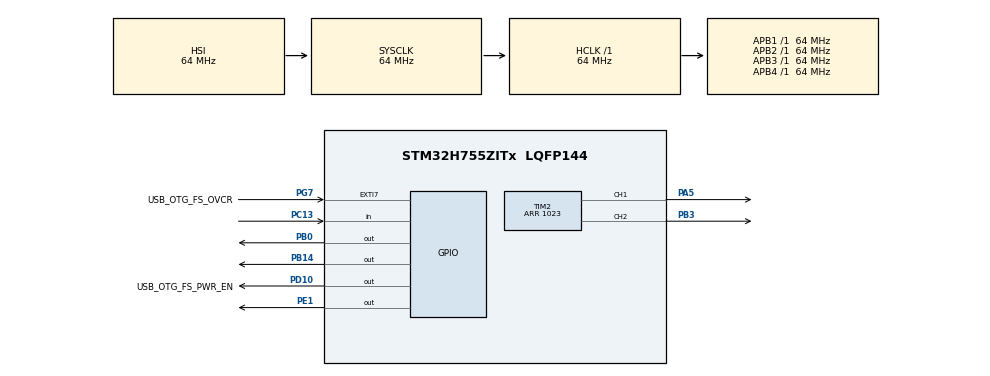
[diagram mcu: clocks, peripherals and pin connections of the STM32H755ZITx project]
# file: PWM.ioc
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CortexM4.IPs=FATFS_M4\:I,FREERTOS_M4\:I,IWDG2\:I,RCC,WWDG2\:I,DMA,BDMA,MDMA,NVIC2\:I,ETH,USART3,DEBUG,PDM2PCM_M4\:I,PWR,RESMGR_UTILITY,SYS_M4\:I,USB_DEVICE_M4\:I,USB_HOST_M4\:I,CORTEX_M4\:I,GPIO,OPENAMP_M4\:I,VREFBUF,NUCLEO-H755ZI-Q
CortexM7.IPs=FATFS_M7\:I,FREERTOS_M7\:I,IWDG1\:I,RCC\:I,WWDG1\:I,DMA\:I,BDMA\:I,MDMA\:I,NVIC1\:I,ETH\:I,USART3\:I,USB_OTG_FS\:I,SYS\:I,CORTEX_M7\:I,DEBUG\:I,PDM2PCM_M7\:I,PWR\:I,RESMGR_UTILITY\:I,USB_DEVICE_M7\:I,USB_HOST_M7\:I,GPIO\:I,OPENAMP_M7\:I,VREFBUF\:I,NUCLEO-H755ZI-Q\:I,MEMORYMAP\:I,TIM2\:I
Mcu.Family=STM32H7
Mcu.Name=STM32H755ZITx
Mcu.Package=LQFP144
NUCLEO-H755ZI-Q.BUTTON=1
NUCLEO-H755ZI-Q.LD1=true
NUCLEO-H755ZI-Q.LD2=true
NUCLEO-H755ZI-Q.LD3=true
NUCLEO-H755ZI-Q.VCP=true
NVIC1.EXTI15_10_IRQn=true\:0\:0\:false\:false\:true\:false\:true\:true
NVIC1.PriorityGroup=NVIC_PRIORITYGROUP_4
NVIC2.PriorityGroup=NVIC_PRIORITYGROUP_4
PA1.PinAttribute=CortexM7
PA1.Signal=ETH_REF_CLK
PA11.PinAttribute=CortexM7
PA11.Signal=USB_OTG_FS_DM
PA12.PinAttribute=CortexM7
PA12.Signal=USB_OTG_FS_DP
PA2.PinAttribute=CortexM7
PA2.Signal=ETH_MDIO
PA5.PinAttribute=CortexM7
PA5.Signal=S_TIM2_CH1_ETR
PA7.PinAttribute=CortexM7
PA7.Signal=ETH_CRS_DV
PA8.PinAttribute=CortexM7
PA8.Signal=USB_OTG_FS_SOF
PA9.PinAttribute=CortexM7
PA9.Signal=USB_OTG_FS_VBUS
PB0.Signal=GPIO_Output
PB13.PinAttribute=CortexM7
PB13.Signal=ETH_TXD1
PB14.Signal=GPIO_Output
PB3\ (JTDO/TRACESWO).PinAttribute=CortexM7
PB3\ (JTDO/TRACESWO).Signal=S_TIM2_CH2
PC1.PinAttribute=CortexM7
PC1.Signal=ETH_MDC
PC13.Signal=GPIO_Input
PC14-OSC32_IN\ (OSC32_IN).PinAttribute=Free
PC14-OSC32_IN\ (OSC32_IN).Signal=RCC_OSC32_IN
PC15-OSC32_OUT\ (OSC32_OUT).PinAttribute=Free
PC15-OSC32_OUT\ (OSC32_OUT).Signal=RCC_OSC32_OUT
PC4.PinAttribute=CortexM7
PC4.Signal=ETH_RXD0
PC5.PinAttribute=CortexM7
PC5.Signal=ETH_RXD1
PD10.GPIO_Label=USB_OTG_FS_PWR_EN
PD10.PinAttribute=Free
PD10.Signal=GPIO_Output
PD8.Signal=USART3_TX
PD9.Signal=USART3_RX
PE1.Signal=GPIO_Output
PG11.PinAttribute=CortexM7
PG11.Signal=ETH_TX_EN
PG13.PinAttribute=CortexM7
PG13.Signal=ETH_TXD0
PG7.GPIO_Label=USB_OTG_FS_OVCR
PG7.PinAttribute=Free
PG7.Signal=GPXTI7
PH0-OSC_IN\ (PH0).PinAttribute=Free
PH0-OSC_IN\ (PH0).Signal=RCC_OSC_IN
PH1-OSC_OUT\ (PH1).PinAttribute=Free
PH1-OSC_OUT\ (PH1).Signal=RCC_OSC_OUT
ProjectManager.HeapSize=M4-0x200,M7-0x200
ProjectManager.StackSize=M4-0x400,M7-0x400
ProjectManager.TargetToolchain=STM32CubeIDE
RCC.ADCFreq_Value=129000000
RCC.APB1Freq_Value=64000000
RCC.APB2Freq_Value=64000000
RCC.APB3Freq_Value=64000000
RCC.APB4Freq_Value=64000000
RCC.CortexFreq_Value=64000000
RCC.DIVM1=5
RCC.DIVN1=48
RCC.DIVQ1=5
RCC.HCLKFreq_Value=64000000
RCC.PLL2FRACN=0
RCC.PLL3FRACN=0
RCC.PLLFRACN=0
RCC.SYSCLKFreq_VALUE=64000000
RCC.SupplySource=PWR_DIRECT_SMPS_SUPPLY
RCC.USBFreq_Value=122880000
SH.S_TIM2_CH1_ETR.0=TIM2_CH1,PWM Generation1 CH1
SH.S_TIM2_CH2.0=TIM2_CH2,PWM Generation2 CH2
TIM2.Channel-PWM\ Generation1\ CH1=TIM_CHANNEL_1
TIM2.Channel-PWM\ Generation2\ CH2=TIM_CHANNEL_2
TIM2.Period=1023
VP_MEMORYMAP_VS_MEMORYMAP.Mode=CurAppReg
VP_NUCLEO-H755ZI-Q_VS_BSP_COMMON.Mode=COMMON
VP_SYS_M4_VS_Systick.Mode=SysTick
board=NUCLEO-H755ZI-Q

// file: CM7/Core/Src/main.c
/* USER CODE BEGIN Header */
/**
 ******************************************************************************
 * @file           : main.c
 * @brief          : Main program body
 ******************************************************************************
 * @attention
 *
 * Copyright (c) 2025 STMicroelectronics.
 * All rights reserved.
 *
 * This software is licensed under terms that can be found in the LICENSE file
 * in the root directory of this software component.
 * If no LICENSE file comes with this software, it is provided AS-IS.
 *
 ******************************************************************************
 */
/* USER CODE END Header */
#include "main.h"

/* USER CODE BEGIN PD */

/* DUAL_CORE_BOOT_SYNC_SEQUENCE: Define for dual core boot synchronization    */
/*                             demonstration code based on hardware semaphore */
/* This define is present in both CM7/CM4 projects                            */
/* To comment when developping/debugging on a single core                     */
#define DUAL_CORE_BOOT_SYNC_SEQUENCE

#if defined(DUAL_CORE_BOOT_SYNC_SEQUENCE)
#ifndef HSEM_ID_0
#define HSEM_ID_0 (0U) /* HW semaphore 0*/
#endif
#endif /* DUAL_CORE_BOOT_SYNC_SEQUENCE */

/* USER CODE END PD */

COM_InitTypeDef BspCOMInit;

TIM_HandleTypeDef htim2;

void SystemClock_Config(void);
static void MX_GPIO_Init(void);
static void MX_TIM2_Init(void);

int main(void)
{

/* USER CODE BEGIN Boot_Mode_Sequence_0 */
#if defined(DUAL_CORE_BOOT_SYNC_SEQUENCE)
	int32_t timeout;
#endif /* DUAL_CORE_BOOT_SYNC_SEQUENCE */
/* USER CODE END Boot_Mode_Sequence_0 */

/* USER CODE BEGIN Boot_Mode_Sequence_1 */
#if defined(DUAL_CORE_BOOT_SYNC_SEQUENCE)
	/* Wait until CPU2 boots and enters in stop mode or timeout*/
	timeout = 0xFFFF;
	while ((__HAL_RCC_GET_FLAG(RCC_FLAG_D2CKRDY) != RESET) && (timeout-- > 0))
		;
	if (timeout < 0) {
		Error_Handler();
	}
#endif /* DUAL_CORE_BOOT_SYNC_SEQUENCE */
/* USER CODE END Boot_Mode_Sequence_1 */
  /* MCU Configuration--------------------------------------------------------*/

  /* Reset of all peripherals, Initializes the Flash interface and the Systick. */
  HAL_Init();

  /* Configure the system clock */
  SystemClock_Config();
/* USER CODE BEGIN Boot_Mode_Sequence_2 */
#if defined(DUAL_CORE_BOOT_SYNC_SEQUENCE)
	/* When system initialization is finished, Cortex-M7 will release Cortex-M4 by means of
	 HSEM notification */
	/*HW semaphore Clock enable*/
	__HAL_RCC_HSEM_CLK_ENABLE();
	/*Take HSEM */
	HAL_HSEM_FastTake(HSEM_ID_0);
	/*Release HSEM in order to notify the CPU2(CM4)*/
	HAL_HSEM_Release(HSEM_ID_0, 0);
	/* wait until CPU2 wakes up from stop mode */
	timeout = 0xFFFF;
	while ((__HAL_RCC_GET_FLAG(RCC_FLAG_D2CKRDY) == RESET) && (timeout-- > 0))
		;
	if (timeout < 0) {
		Error_Handler();
	}
#endif /* DUAL_CORE_BOOT_SYNC_SEQUENCE */
/* USER CODE END Boot_Mode_Sequence_2 */

  /* Initialize all configured peripherals */
  MX_GPIO_Init();
  MX_TIM2_Init();
  /* USER CODE BEGIN 2 */
	HAL_TIM_PWM_Start(&htim2, TIM_CHANNEL_1);
	HAL_TIM_PWM_Start(&htim2, TIM_CHANNEL_2);
  /* USER CODE END 2 */

  /* Initialize leds */
  BSP_LED_Init(LED_GREEN);
  BSP_LED_Init(LED_YELLOW);
  BSP_LED_Init(LED_RED);

  /* Initialize USER push-button, will be used to trigger an interrupt each time it's pressed.*/
  BSP_PB_Init(BUTTON_USER, BUTTON_MODE_EXTI);

  /* Initialize COM1 port (115200, 8 bits (7-bit data + 1 stop bit), no parity */
  BspCOMInit.BaudRate   = 115200;
  BspCOMInit.WordLength = COM_WORDLENGTH_8B;
  BspCOMInit.StopBits   = COM_STOPBITS_1;
  BspCOMInit.Parity     = COM_PARITY_NONE;
  BspCOMInit.HwFlowCtl  = COM_HWCONTROL_NONE;
  if (BSP_COM_Init(COM1, &BspCOMInit) != BSP_ERROR_NONE)
  {
    Error_Handler();
  }

  /* Infinite loop */
	while (1) {

    /* USER CODE BEGIN 3 */
		__HAL_TIM_SET_COMPARE(&htim2, TIM_CHANNEL_1, 512);
		__HAL_TIM_SET_COMPARE(&htim2, TIM_CHANNEL_2, 0);

		HAL_Delay(1000);

		__HAL_TIM_SET_COMPARE(&htim2, TIM_CHANNEL_1, 0);
		__HAL_TIM_SET_COMPARE(&htim2, TIM_CHANNEL_2, 0);

		HAL_Delay(100);

		__HAL_TIM_SET_COMPARE(&htim2, TIM_CHANNEL_1, 0);
		__HAL_TIM_SET_COMPARE(&htim2, TIM_CHANNEL_2, 512);

		HAL_Delay(1000);

		__HAL_TIM_SET_COMPARE(&htim2, TIM_CHANNEL_1, 0);
		__HAL_TIM_SET_COMPARE(&htim2, TIM_CHANNEL_2, 0);

		HAL_Delay(100);

	}
  /* USER CODE END 3 */
}

void SystemClock_Config(void)
{
  RCC_OscInitTypeDef RCC_OscInitStruct = {0};
  RCC_ClkInitTypeDef RCC_ClkInitStruct = {0};

  /** Supply configuration update enable
  */
  HAL_PWREx_ConfigSupply(PWR_DIRECT_SMPS_SUPPLY);

  /** Configure the main internal regulator output voltage
  */
  __HAL_PWR_VOLTAGESCALING_CONFIG(PWR_REGULATOR_VOLTAGE_SCALE3);

  while(!__HAL_PWR_GET_FLAG(PWR_FLAG_VOSRDY)) {}

  /** Initializes the RCC Oscillators according to the specified parameters
  * in the RCC_OscInitTypeDef structure.
  */
  RCC_OscInitStruct.OscillatorType = RCC_OSCILLATORTYPE_HSI;
  RCC_OscInitStruct.HSIState = RCC_HSI_DIV1;
  RCC_OscInitStruct.HSICalibrationValue = RCC_HSICALIBRATION_DEFAULT;
  RCC_OscInitStruct.PLL.PLLState = RCC_PLL_NONE;
  if (HAL_RCC_OscConfig(&RCC_OscInitStruct) != HAL_OK)
  {
    Error_Handler();
  }

  /** Initializes the CPU, AHB and APB buses clocks
  */
  RCC_ClkInitStruct.ClockType = RCC_CLOCKTYPE_HCLK|RCC_CLOCKTYPE_SYSCLK
                              |RCC_CLOCKTYPE_PCLK1|RCC_CLOCKTYPE_PCLK2
                              |RCC_CLOCKTYPE_D3PCLK1|RCC_CLOCKTYPE_D1PCLK1;
  RCC_ClkInitStruct.SYSCLKSource = RCC_SYSCLKSOURCE_HSI;
  RCC_ClkInitStruct.SYSCLKDivider = RCC_SYSCLK_DIV1;
  RCC_ClkInitStruct.AHBCLKDivider = RCC_HCLK_DIV1;
  RCC_ClkInitStruct.APB3CLKDivider = RCC_APB3_DIV1;
  RCC_ClkInitStruct.APB1CLKDivider = RCC_APB1_DIV1;
  RCC_ClkInitStruct.APB2CLKDivider = RCC_APB2_DIV1;
  RCC_ClkInitStruct.APB4CLKDivider = RCC_APB4_DIV1;

  if (HAL_RCC_ClockConfig(&RCC_ClkInitStruct, FLASH_LATENCY_1) != HAL_OK)
  {
    Error_Handler();
  }
}

static void MX_TIM2_Init(void)
{

  TIM_MasterConfigTypeDef sMasterConfig = {0};
  TIM_OC_InitTypeDef sConfigOC = {0};

  htim2.Instance = TIM2;
  htim2.Init.Prescaler = 0;
  htim2.Init.CounterMode = TIM_COUNTERMODE_UP;
  htim2.Init.Period = 1023;
  htim2.Init.ClockDivision = TIM_CLOCKDIVISION_DIV1;
  htim2.Init.AutoReloadPreload = TIM_AUTORELOAD_PRELOAD_DISABLE;
  if (HAL_TIM_PWM_Init(&htim2) != HAL_OK)
  {
    Error_Handler();
  }
  sMasterConfig.MasterOutputTrigger = TIM_TRGO_RESET;
  sMasterConfig.MasterSlaveMode = TIM_MASTERSLAVEMODE_DISABLE;
  if (HAL_TIMEx_MasterConfigSynchronization(&htim2, &sMasterConfig) != HAL_OK)
  {
    Error_Handler();
  }
  sConfigOC.OCMode = TIM_OCMODE_PWM1;
  sConfigOC.Pulse = 0;
  sConfigOC.OCPolarity = TIM_OCPOLARITY_HIGH;
  sConfigOC.OCFastMode = TIM_OCFAST_DISABLE;
  if (HAL_TIM_PWM_ConfigChannel(&htim2, &sConfigOC, TIM_CHANNEL_1) != HAL_OK)
  {
    Error_Handler();
  }
  if (HAL_TIM_PWM_ConfigChannel(&htim2, &sConfigOC, TIM_CHANNEL_2) != HAL_OK)
  {
    Error_Handler();
  }
  HAL_TIM_MspPostInit(&htim2);

}

static void MX_GPIO_Init(void)
{
  GPIO_InitTypeDef GPIO_InitStruct = {0};

  /* GPIO Ports Clock Enable */
  __HAL_RCC_GPIOC_CLK_ENABLE();
  __HAL_RCC_GPIOA_CLK_ENABLE();
  __HAL_RCC_GPIOB_CLK_ENABLE();
  __HAL_RCC_GPIOG_CLK_ENABLE();

  /*Configure GPIO pins : PC1 PC4 PC5 */
  GPIO_InitStruct.Pin = GPIO_PIN_1|GPIO_PIN_4|GPIO_PIN_5;
  GPIO_InitStruct.Mode = GPIO_MODE_AF_PP;
  GPIO_InitStruct.Pull = GPIO_NOPULL;
  GPIO_InitStruct.Speed = GPIO_SPEED_FREQ_LOW;
  GPIO_InitStruct.Alternate = GPIO_AF11_ETH;
  HAL_GPIO_Init(GPIOC, &GPIO_InitStruct);

  /*Configure GPIO pins : PA1 PA2 PA7 */
  GPIO_InitStruct.Pin = GPIO_PIN_1|GPIO_PIN_2|GPIO_PIN_7;
  GPIO_InitStruct.Mode = GPIO_MODE_AF_PP;
  GPIO_InitStruct.Pull = GPIO_NOPULL;
  GPIO_InitStruct.Speed = GPIO_SPEED_FREQ_LOW;
  GPIO_InitStruct.Alternate = GPIO_AF11_ETH;
  HAL_GPIO_Init(GPIOA, &GPIO_InitStruct);

  /*Configure GPIO pin : PB13 */
  GPIO_InitStruct.Pin = GPIO_PIN_13;
  GPIO_InitStruct.Mode = GPIO_MODE_AF_PP;
  GPIO_InitStruct.Pull = GPIO_NOPULL;
  GPIO_InitStruct.Speed = GPIO_SPEED_FREQ_LOW;
  GPIO_InitStruct.Alternate = GPIO_AF11_ETH;
  HAL_GPIO_Init(GPIOB, &GPIO_InitStruct);

  /*Configure GPIO pins : PA8 PA11 PA12 */
  GPIO_InitStruct.Pin = GPIO_PIN_8|GPIO_PIN_11|GPIO_PIN_12;
  GPIO_InitStruct.Mode = GPIO_MODE_AF_PP;
  GPIO_InitStruct.Pull = GPIO_NOPULL;
  GPIO_InitStruct.Speed = GPIO_SPEED_FREQ_LOW;
  GPIO_InitStruct.Alternate = GPIO_AF10_OTG1_FS;
  HAL_GPIO_Init(GPIOA, &GPIO_InitStruct);

  /*Configure GPIO pins : PG11 PG13 */
  GPIO_InitStruct.Pin = GPIO_PIN_11|GPIO_PIN_13;
  GPIO_InitStruct.Mode = GPIO_MODE_AF_PP;
  GPIO_InitStruct.Pull = GPIO_NOPULL;
  GPIO_InitStruct.Speed = GPIO_SPEED_FREQ_LOW;
  GPIO_InitStruct.Alternate = GPIO_AF11_ETH;
  HAL_GPIO_Init(GPIOG, &GPIO_InitStruct);

}

void Error_Handler(void)
{
	__disable_irq();
	while (1) {
	}
}
